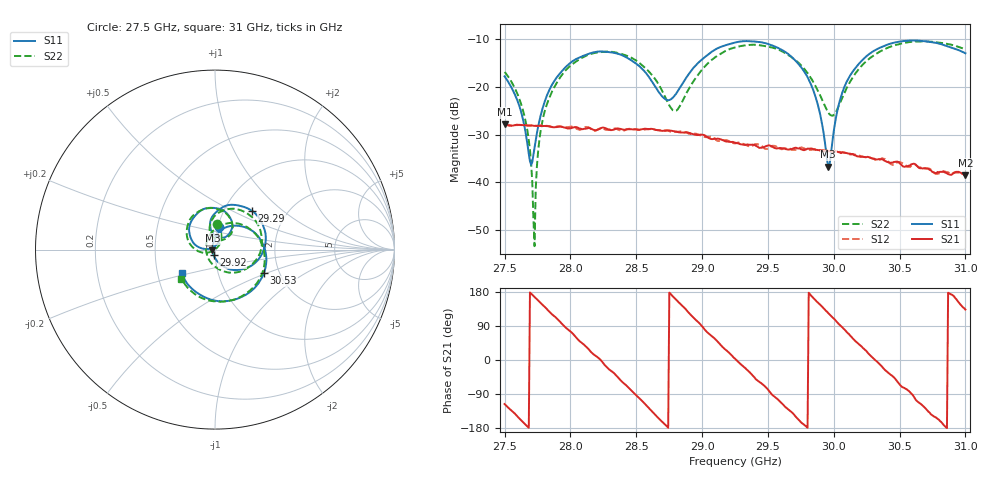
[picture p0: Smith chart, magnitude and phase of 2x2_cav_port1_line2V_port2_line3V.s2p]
!Created with skrf (http://scikit-rf.org).
# GHz S RI R 50.0
!freq ReS11 ImS11 ReS21 ImS21 ReS12 ImS12 ReS22 ImS22
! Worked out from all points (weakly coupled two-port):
!   401 points, 27.5 GHz to 31 GHz, reference 50 ohm
!   highest |S21| = -27.85 dB at 27.5 GHz (marker M1); lowest = -38.6 dB at 31 GHz (marker M2)
!   lowest |S11| = -36.7 dB at 29.96 GHz (marker M3), VSWR 1.03, Z = 48.6 - j0.285 ohm
!   |S11| at or under -10 dB: start of sweep to end of sweep
!   |S22| runs from -53.4 to -10.5 dB; largest |S21 - S12| = 0.0019
!   S11 on the Smith chart (normalised r, x): 27.5 GHz: 1.01, +0.26; 29.29 GHz: 1.35, +0.64; 29.92 GHz: 0.98, -0.06; 30.53 GHz: 1.66, -0.48; 31 GHz: 0.67, -0.18
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27.5  0.0226 0.1271  -0.0178 -0.0364  -0.0174 -0.0368  0.0112 0.1431
27.64875  0.0167 0.0362  -0.0388 -0.00889  -0.0388 -0.00921  0.0305 0.0407
27.6925  -0.00312 0.0164  -0.0394 0.00124  -0.0394 0.000839  0.0158 0.0152
27.71  -0.0123 0.0106  -0.0391 0.00531  -0.0391 0.00518  0.00764 0.00669
27.7275  -0.0221 0.00689  -0.038 0.00929  -0.0381 0.00915  -0.00197 -0.00085
27.77125  -0.0486 0.0031  -0.0343 0.0185  -0.0348 0.0184  -0.0296 -0.0142
27.82375  -0.0824 0.00975  -0.0266 0.0282  -0.0267 0.0286  -0.0648 -0.0179
28.08625  -0.1283 0.1645  0.0254 0.0256  0.0248 0.0266  -0.1535 0.1305
28.40125  0.0667 0.2017  0.0176 -0.0309  0.0179 -0.0298  0.0408 0.2149
28.6725  0.0544 0.0688  -0.0318 -0.0149  -0.0317 -0.0153  0.0754 0.0727
28.80375  -0.00737 0.0849  -0.0317 0.0125  -0.0317 0.0116  0.0114 0.0553
29.25  0.1782 0.2312  0.026 0.00156  0.0256 0.00214  0.1355 0.2219
29.285  0.2066 0.2155  0.0249 -0.00371  0.0258 -0.00336  0.1647 0.2097
29.62625  0.2231 -0.0746  -0.012 -0.0193  -0.0114 -0.0195  0.2168 -0.0714
29.83625  0.0414 -0.09  -0.022 0.00515  -0.0215 0.0047  0.0304 -0.114
29.92375  -0.00802 -0.0314  -0.0156 0.0149  -0.0154 0.0149  -0.0312 -0.0596
29.95875  -0.0143 -0.00293  -0.0117 0.0177  -0.0119 0.0179  -0.0444 -0.0302
30.1075  0.0404 0.1126  0.0066 0.019  0.00655 0.0188  -0.0131 0.102
30.4225  0.2816 -0.0128  0.0131 -0.00946  0.0123 -0.0102  0.2593 0.0349
30.5275  0.2721 -0.1317  0.00446 -0.014  0.00464 -0.0149  0.2746 -0.0888
30.7725  0.034 -0.2881  -0.0109 -0.00607  -0.0109 -0.00562  0.0638 -0.2878
31  -0.1854 -0.1283  -0.00805 0.00863  -0.0084 0.00839  -0.1879 -0.1625
